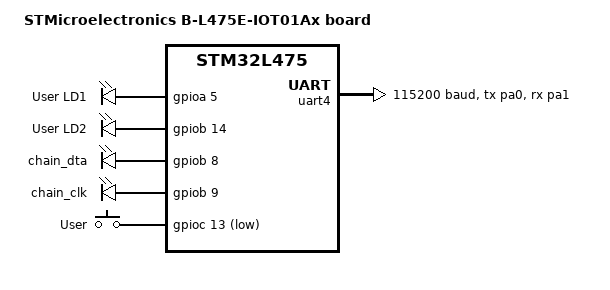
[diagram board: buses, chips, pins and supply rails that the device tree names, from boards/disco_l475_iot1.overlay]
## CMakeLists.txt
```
cmake_minimum_required(VERSION 3.20.0)
find_package(Zephyr REQUIRED HINTS $ENV{ZEPHYR_BASE})
project(uplink)

target_include_directories(app PRIVATE ../../include)

target_sources(app PRIVATE src/main.c src/os_ble.c ../../lib/journal.c ../../lib/friends.c ../../lib/comms.c ../../lib/os_uart.c ../../lib/ble_uuid.c)

list(APPEND ZEPHYR_EXTRA_MODULES 
    ${CMAKE_CURRENT_SOURCE_DIR}/modules/hal/silabs
)
```

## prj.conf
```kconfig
# Shell + CLI Support
CONFIG_SHELL=y
CONFIG_SHELL_BACKEND_SERIAL=y
CONFIG_SHELL_CMDS=y

CONFIG_SERIAL=y
CONFIG_UART_INTERRUPT_DRIVEN=y

# Bluetooth
CONFIG_BT=y
CONFIG_BT_SMP=n
CONFIG_BT_DEVICE_NAME="sienna-upl"
CONFIG_BT_PERIPHERAL=y
CONFIG_BT_OBSERVER=y
CONFIG_BT_CENTRAL=y
CONFIG_BT_GATT_CLIENT=y
CONFIG_BT_MAX_CONN=2
CONFIG_BT_DEVICE_APPEARANCE=0
CONFIG_BT_PRIVACY=n
CONFIG_BT_EXT_ADV=n
```

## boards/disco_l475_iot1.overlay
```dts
&uart4 {
	pinctrl-0 = <&uart4_tx_pa0 &uart4_rx_pa1>;
	pinctrl-names = "default";
	current-speed = <115200>;
	status = "okay";
};

&pinctrl {
    uart4_tx_pa0: uart4_tx_pa0 {
        pinmux = <STM32_PINMUX('A', 0, AF8)>;
        bias-disable;
        drive-push-pull;
    };

    uart4_rx_pa1: uart4_rx_pa1 {
        pinmux = <STM32_PINMUX('A', 1, AF8)>;
        bias-disable;
    };
};

/ {
	model = "STMicroelectronics B-L475E-IOT01Ax board";
	compatible = "st,stm32l475-disco-iot";

	chosen {
		zephyr,console = &usart1;
		zephyr,shell-uart = &usart1;
		zephyr,sram = &sram0;
		zephyr,flash = &flash0;
		zephyr,code-partition = &slot0_partition;
		zephyr,flash-controller = &mx25r6435f;
		zephyr,bt-c2h-uart = &usart1;
		zephyr,bt-hci = &hci_spi;
	};

	leds {
		compatible = "gpio-leds";
		green_led_1: led_1 {
			gpios = <&gpioa 5 GPIO_ACTIVE_HIGH>;
			label = "User LD1";
		};
		green_led_2: led_2 {
			gpios = <&gpiob 14 GPIO_ACTIVE_HIGH>;
			label = "User LD2";
		};

		chain_dta: led_3 {
			gpios = <&gpiob 8 (GPIO_ACTIVE_HIGH | GPIO_PULL_UP)>;
		};

		chain_clk: led_4 {
			gpios = <&gpiob 9 (GPIO_ACTIVE_HIGH | GPIO_PULL_UP)>;
		};
	};

	gpio_keys {
		compatible = "gpio-keys";
		user_button: button_0 {
			label = "User";
			gpios = <&gpioc 13 GPIO_ACTIVE_LOW>;
			zephyr,code = <INPUT_KEY_0>;
		};
	};

	pwmleds: pwmleds {
		compatible = "pwm-leds";
		status = "disabled";

		/*
		 * green_pwm_1 is connected to CN1 pin 2 not LD1, since LD1
		 * shares a pin with the Arduino SPI SCL line.
		 */
		green_pwm_1: green_led_1 {
			pwms = <&pwm2 1 PWM_MSEC(20) PWM_POLARITY_NORMAL>;
			label = "green LD1";
		};
		green_pwm_2: green_led_2 {
			pwms = <&pwm15 1 PWM_MSEC(20) PWM_POLARITY_NORMAL>;
			label = "green LD2";
		};
	};

	aliases {
		u1 = &uart4;
		clk0 = &chain_clk;
		dta0 = &chain_dta;
		led0 = &green_led_2;
		led1 = &green_led_1;
		pwm-led0 = &green_pwm_2;
		pwm-led1 = &green_pwm_1;
		sw0 = &user_button;
		eswifi0 = &wifi0;
		watchdog0 = &iwdg;
		accel0 = &lsm6dsl;
		volt-sensor0 = &vref;
		volt-sensor1 = &vbat;
		die-temp0 = &die_temp;
	};
};
```

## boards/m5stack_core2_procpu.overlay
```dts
/ {
	model = "M5Stack Core2 PROCPU";
	compatible = "m5stack,core2";

	aliases {
		pwr-led = &pwr_led;
		uart-0 = &uart0;
		i2c-0 = &i2c0;
		watchdog0 = &wdt0;
		rtc = &pfc8563_rtc;
		led0 = &led_pwr;
		sdhc0 = &sd0;
	};

	chosen {
		zephyr,sram = &sram1;
		zephyr,console = &uart0;
		zephyr,shell-uart = &uart0;
		zephyr,flash = &flash0;
		zephyr,display = &ili9342c;
		zephyr,code-partition = &slot0_partition;
		zephyr,rtc = &pfc8563_rtc;
		zephyr,bt-hci = &esp32_bt_hci;
		zephyr,touch = &ft5336_touch;
	};

	leds {
		compatible = "gpio-leds";
		led_pwr: led_pwr {
			gpios = <&axp192_gpio 1 (GPIO_OPEN_DRAIN | GPIO_ACTIVE_LOW)>;
			label = "Power LED";
		};
	};

	lvgl_pointer {
		compatible = "zephyr,lvgl-pointer-input";
		input = <&ft5336_touch>;
		swap-xy;
	};

	mipi_dbi {
		compatible = "zephyr,mipi-dbi-spi";
		dc-gpios = <&gpio0 15 GPIO_ACTIVE_HIGH>;
		reset-gpios = <&axp192_gpio 4 (GPIO_OPEN_DRAIN | GPIO_ACTIVE_LOW)>;
		spi-dev = <&spi3>;
		write-only;
		#address-cells = <1>;
		#size-cells = <0>;

		ili9342c: ili9342c@0 {
			compatible = "ilitek,ili9342c";
			mipi-max-frequency = <30000000>;
			reg = <0>;
			vin-supply = <&lcd_bg>;
			pixel-format = <ILI9XXX_PIXEL_FORMAT_RGB565>;
			display-inversion;
			width = <320>;
			height = <240>;
			rotation = <0>;
		};
	};

	bus_5v: bus_5v {
		compatible = "regulator-fixed";
		regulator-name = "bus_5v";
		enable-gpios = <&axp192_gpio 5 GPIO_ACTIVE_HIGH>;
	};

	esp32_bt_hci: esp32_bt_hci {
		compatible = "espressif,esp32-bt-hci";
		status = "okay";
	};
};
```

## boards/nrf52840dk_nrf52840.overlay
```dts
arduino_serial: &uart1 {
	current-speed = <115200>;
	pinctrl-0 = <&uart1_default>;
	pinctrl-1 = <&uart1_sleep>;
	pinctrl-names = "default", "sleep";
	status = "okay";
};

/ {
	aliases {
		u1 = &arduino_serial;
	};
};
```

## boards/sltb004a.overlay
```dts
/ {

	aliases {
		u1 = &usart2;
	};

	bt_hci_silabs: bt_hci_silabs {
		compatible = "silabs,bt-hci-efr32";
		status = "okay";
	};


};

  compatible = "silabs,sltb004a";

  aliases
  {
    u1 = &leuart0;
  };

  chosen {
    zephyr,console = &usart0;
    zephyr,shell-uart = &usart0;
    zephyr,bt-c2h-uart = &usart0;
    zephyr,bt-hci = &bt_hci_silabs;
  };
};

&leuart0
{
  status = "okay";
  current-speed = <115200>;
};

&bt_hci_silabs
{
  status = "okay";
};
```

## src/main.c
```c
#include <stdio.h>
#include <string.h>

#include <zephyr/kernel.h>
#include <zephyr/device.h>
#include <zephyr/devicetree.h>
#include <zephyr/drivers/display.h>
#include <zephyr/drivers/gpio.h>

#include "comms.h"

#include "friends.h"
#include "journal.h"
#include "os_ble.h"
#include "os_uart.h"
#include "ble_uuid.h"
#include "pet_wfc.h"

os_uart_passthru_s uart_passthru_rx = {

	.len = -1,
	.buff = {0}
};

os_uart_passthru_s uart_passthru_tx = {

	.len = -1,
	.buff = {0}
};

uint8_t my_mf_data[MF_DLEN] = {

	MF_ID_HIGH,
	MF_ID_LOW,
	0x00,
	0x00,
	0x00,
	0x00,
	0x00,
	0x00,
	0x00,
	0x00,
	0x00,
	0x00,
};

pet_personality_pkt_s pet_ppy_pkt;
pet_exchange_state_pkt_s pet_pex_state_pkt;
pet_exchange_journal_evt_pkt_s pet_pex_journal_evt_pkt;
pet_wfc_pkt_demo_cmd_s pet_wfc_demo_pkt;

pet_uart_srvc_rssi_pkt_s pet_uart_srvc_rssi_pkt;

pet_wfc_state_e pet_wfc_state = PET_WFC_NULL;

void print_buffer(uint8_t *buffer, int len) {
	int i;
	for (i = 0; i < len - 1; i++) {
		printf("0x%x-", buffer[i]);
	}
	printf("0x%x\r\n", buffer[i]);
}

void process_uart_packet() {

	os_ble_passthru_s ble_tx;

	print_buffer(uart_passthru_rx.buff, uart_passthru_rx.len);

	switch (uart_passthru_rx.buff[0]) {

		case PET_PKT_WFC_DEMO_COMMAND:
			printf("Got a WFC cmd \r\n");
			deserialize_pet_wfc_demo_cmd_pkt(&pet_wfc_demo_pkt, uart_passthru_rx.buff);

			switch (pet_wfc_demo_pkt.cmd_id) {
				case PET_WFC_CMD_INIT_CONN:
					// want to initiate pet wireless comunications

					targeting = pet_wfc_demo_pkt.cmd_arg;
					os_ble_state.state = OS_BLE_STATE_TARGETING;
					break;
				default:
					break;
			}

			break;

		case PET_PKT_WFC_RTC_UPDATE:
			printf("Got a WFC\r\n");

			ble_tx.charac = BLE_UUID_16_CHR_WFC_RX;
			ble_tx.len = uart_passthru_rx.len;
			memcpy(ble_tx.buff, uart_passthru_rx.buff, ble_tx.len);

			os_ble_notify(&ble_tx);
			break;

		case PET_PKT_PPY_PERSONALITY:

			printf("Got a PPY\r\n");

			deserialize_pet_personality_pkt(&pet_ppy_pkt, uart_passthru_rx.buff);

			my_mf_data[BLE_ADV_PEX_ID_HIGH] = pet_ppy_pkt.id >> 8;
			my_mf_data[BLE_ADV_PEX_ID_LOW] = pet_ppy_pkt.id & 0xFF;
			my_mf_data[BLE_ADV_MY_SPRITE] = pet_ppy_pkt.sprite;

			if (os_ble_state.state == OS_BLE_STATE_CONNECTED) {
				ble_tx.charac = BLE_UUID_16_CHR_PPY_RX;
				ble_tx.len = uart_passthru_rx.len;
				memcpy(ble_tx.buff, uart_passthru_rx.buff, ble_tx.len);

				os_ble_notify(&ble_tx);
			}
			break;

		case PET_PKT_PEX_STATE:

			printf("Got a PEX.\r\n");

			//deserialize_pet_exchange_state_pkt(&pet_pex_state_pkt, uart_passthru_rx.buff);
			memcpy(my_mf_data + BLE_ADV_PEX_STATE_START, uart_passthru_rx.buff + 2, 7);

			if (os_ble_state.state == OS_BLE_STATE_CONNECTED) {
				ble_tx.charac = BLE_UUID_16_CHR_PEX_RX;
				ble_tx.len = uart_passthru_rx.len;
				memcpy(ble_tx.buff, uart_passthru_rx.buff, ble_tx.len);

				os_ble_notify(&ble_tx);
			}
			break;

		case PET_PKT_PEX_JOURNAL_EVT:
			printf("Got a JOURNAL EVT.\r\n");

			ble_tx.charac = BLE_UUID_16_CHR_PEX_RX;
			ble_tx.len = uart_passthru_rx.len;
			memcpy(ble_tx.buff, uart_passthru_rx.buff, ble_tx.len);

			os_ble_notify(&ble_tx);
			break;

		default:
			break;
	}

	os_ble_update_mf_data(my_mf_data);
}


K_THREAD_STACK_DEFINE(stack_bluetooth_state_handler, 2048);
struct k_thread thread_bluetooth_state_handler_data;

static void thread_bluetooth_state_handler(void *a, void *b, void *c) {

	os_ble_passthru_s ble_rx;
	os_ble_passthru_s ble_tx;
	os_ble_pet_adv_s pet_adv;
	bool con_inited = false;

	pet_wfc_demo_pkt.cmd_id = PET_WFC_CMD_CLOSE_CONN;
	pet_wfc_demo_pkt.cmd_arg = 0;
	targeting = 0;
	printf("Goodbye M5!\r\n");

	uart_passthru_tx.len = serialize_pet_wfc_demo_cmd_pkt(
		&pet_wfc_demo_pkt, uart_passthru_tx.buff);

	os_uart_passthru(&uart_passthru_tx);

	while (true) {

		switch (os_ble_state.state) {

			case OS_BLE_STATE_SCAN:

				con_inited = false;
				printf("Starting scan...\r\n");
				os_ble_stop_advertising();
				os_ble_start_scan();

				if (!k_msgq_get(&os_ble_advq, &pet_adv, K_MSEC(OS_BLE_DURATION_SCAN))) {

					printf("Got sienna packet.\r\n");

					pet_uart_srvc_rssi_pkt.rssi = pet_adv.rssi;
					pet_uart_srvc_rssi_pkt.id = d_u16(pet_adv.mf_data + 2);
					pet_uart_srvc_rssi_pkt.sprite = pet_adv.mf_data[BLE_ADV_MY_SPRITE];

					deserialize_pet_exchange_state_pkt(&pet_uart_srvc_rssi_pkt.pex_state,
						pet_adv.mf_data + (BLE_ADV_PEX_STATE_START - 1));

					uart_passthru_tx.len = serialize_pet_uart_srvc_rssi_pkt(&pet_uart_srvc_rssi_pkt, uart_passthru_tx.buff);
					os_uart_passthru(&uart_passthru_tx);
				}

				os_ble_state.state = os_ble_state.state == OS_BLE_STATE_SCAN
					? OS_BLE_STATE_ADVERTISE
					: os_ble_state.state;

				break;

			case OS_BLE_STATE_ADVERTISE:

				printf("Starting advertise...\r\n");
				os_ble_stop_scan();
				os_ble_restart_advertising();

				k_sleep(K_MSEC(OS_BLE_DURATION_ADVERTISE));

				os_ble_state.state = os_ble_state.state == OS_BLE_STATE_ADVERTISE
					? OS_BLE_STATE_SCAN
					: os_ble_state.state;

				break;

			case OS_BLE_STATE_TARGETING:

				os_ble_stop_advertising();
				// but now we are looking for a connection
				os_ble_start_scan();

				k_sleep(K_MSEC(1000));

				break;

			case OS_BLE_STATE_PET_WFC:

				switch (pet_wfc_state) {

					case PET_WFC_NOTIFY_M5:

						pet_wfc_demo_pkt.cmd_id = PET_WFC_CMD_INIT_CONN;
						pet_wfc_demo_pkt.cmd_arg = targeting;

						uart_passthru_tx.len = serialize_pet_wfc_demo_cmd_pkt(
							&pet_wfc_demo_pkt, uart_passthru_tx.buff);

						os_uart_passthru(&uart_passthru_tx);

						if (i_am_the_boss) {
							pet_wfc_state = PET_WFC_SEND_HELLO;
						} else {
							pet_wfc_state = PET_WFC_WAIT_JOURNAL;
						}
						break;

					case PET_WFC_SEND_HELLO:
						// we need to tell the other device
						// that we are a pet

						pet_wfc_demo_pkt.cmd_id = PET_WFC_CMD_HELLO;

						ble_tx.charac = BLE_UUID_16_CHR_PEX_RX;
						ble_tx.len = serialize_pet_wfc_demo_cmd_pkt(&pet_wfc_demo_pkt, ble_tx.buff);

						os_ble_write(&ble_tx);
						pet_wfc_state = PET_WFC_WAIT_HELLO;
						break;

					case PET_WFC_WAIT_HELLO:

						if (!k_msgq_get(&os_ble_rxq, &ble_rx, K_MSEC(100))) {

							if (ble_rx.buff[1] == PET_PKT_WFC_DEMO_COMMAND && ble_rx.buff[2] == PET_WFC_CMD_HELLO) {
								// other pet has acked lets do journal exchange
								pet_wfc_state = PET_WFC_WAIT_JOURNAL;
								// we can give a journal request to the M5 and it will tx straight thru
								pet_pex_journal_evt_pkt.index = JOURNAL_REQUEST_MAGIC_NUM;
								pet_pex_journal_evt_pkt.entry.event = JOURNAL_EVT_HOT; // we're pretty hot ngl
								pet_pex_journal_evt_pkt.entry.timestamp = 0;
								pet_pex_journal_evt_pkt.id = 0;

								uart_passthru_tx.len = serialize_pet_exchange_journal_evt_pkt(&pet_pex_journal_evt_pkt, uart_passthru_tx.buff);
								os_uart_passthru(&uart_passthru_tx);
							}
						}

						break;

					case PET_WFC_WAIT_JOURNAL:

						if (!k_msgq_get(&os_ble_rxq, &ble_rx, K_MSEC(100))) {
							// we got a journal event so forward straight to the M5
							uart_passthru_tx.len = ble_rx.len;
							memcpy(uart_passthru_tx.buff, ble_rx.buff, uart_passthru_rx.len);
							os_uart_passthru(&uart_passthru_tx);

							deserialize_pet_exchange_journal_evt_pkt(&pet_pex_journal_evt_pkt, ble_rx.buff);

							if (pet_pex_journal_evt_pkt.index == JOURNAL_FINISHED_MAGIC_NUM) {
								// we're done here :)
								pet_wfc_state = PET_WFC_NULL;
								bt_conn_disconnect(pet_wfc_conn, BT_HCI_ERR_REMOTE_USER_TERM_CONN);
							}
						}

						break;

					case PET_WFC_GOODBYE_M5:

						pet_wfc_demo_pkt.cmd_id = PET_WFC_CMD_CLOSE_CONN;
						pet_wfc_demo_pkt.cmd_arg = 0;
						targeting = 0;
						printf("Goodbye M5!\r\n");

						uart_passthru_tx.len = serialize_pet_wfc_demo_cmd_pkt(
							&pet_wfc_demo_pkt, uart_passthru_tx.buff);

						os_uart_passthru(&uart_passthru_tx);

						pet_wfc_state = PET_WFC_NULL;
						os_ble_state.state = OS_BLE_STATE_SCAN;
						break;

					default:
						break;
				}

				k_sleep(K_MSEC(100));
				break;

			case OS_BLE_STATE_CONNECTED:

				if (!con_inited) {
					pet_wfc_demo_pkt.cmd_id = PET_WFC_CMD_INIT_CONN;
					pet_wfc_demo_pkt.cmd_arg = targeting;

					uart_passthru_tx.len = serialize_pet_wfc_demo_cmd_pkt(
						&pet_wfc_demo_pkt, uart_passthru_tx.buff);

					os_uart_passthru(&uart_passthru_tx);
				}
				con_inited = true;


				if (k_msgq_num_used_get(&os_ble_rxq) > 0) {
					k_msgq_get(&os_ble_rxq, &ble_rx, K_NO_WAIT);

					if (ble_rx.buff[1] == PET_PKT_WFC_DEMO_COMMAND && ble_rx.buff[2] == PET_WFC_CMD_HELLO) {
						// we're actually in Pet WFC mode
						pet_wfc_state = PET_WFC_SEND_HELLO;
						os_ble_state.state = OS_BLE_STATE_PET_WFC;
						break;
					}

					uart_passthru_tx.len = ble_rx.len;
					memcpy(uart_passthru_tx.buff, ble_rx.buff, uart_passthru_tx.len);
					os_uart_passthru(&uart_passthru_tx);

					printf("Got a ble msg.\r\n");
					print_buffer(uart_passthru_tx.buff, uart_passthru_tx.len);
				}
			// fallthrough
			default:
				k_sleep(K_MSEC(100));
				break;
		}
	}
}

int main() {

	k_tid_t tid_bluetooth_state_handler;

	os_ble_init();

	if (!os_uart_init()) {
		printf("UART INIT FAILED!\n");
	}

	os_ble_state.state = OS_BLE_STATE_SCAN;

	tid_bluetooth_state_handler = k_thread_create(
		&thread_bluetooth_state_handler_data,
		stack_bluetooth_state_handler,
		K_THREAD_STACK_SIZEOF(stack_bluetooth_state_handler),
		thread_bluetooth_state_handler,
		NULL, NULL, NULL,
		2, 0, K_NO_WAIT
	);

	while (1) {

		k_msgq_get(&os_uart_rxq, &uart_passthru_rx, K_FOREVER);
		printf("Got a uart msg.\r\n");

		process_uart_packet();
	}
}
```

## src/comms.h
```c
#ifndef COMMS_H
#define COMMS_H

#include <stdint.h>

#include "scenes.h"
#include "personality.h"
#include "journal.h"

#define SIENNA_MF_ID 0x4369

#define BLE_SERV_UUID16_PPY 0x4369
#define BLE_SERV_UUID16_PEX 0xCAFE
#define BLE_SERV_UUID16_WFC 0xFEED

typedef struct {

	pex_uuid_t id;

	sprite_s sprite;

	main_scenes_e fav_scene;
	mod_weather_e fav_weather;
	mod_time_e fav_time;
	mod_temp_e fav_temp;

	foods_e fav_food;
	drinks_e fav_drink;

	uint16_t weights[PET_ATTR_NEG_MAX];
} pet_personality_pkt_s;

typedef struct {

	main_scenes_e scene;
	mod_weather_e scene_weather;
	mod_mood_e scene_mood;
	mod_time_e scene_time;
	mod_temp_e scene_temp;

	foods_e held_food;
	drinks_e held_drink;

} pet_exchange_state_pkt_s;

typedef struct {

	journal_entry_s journal[JOURNAL_MAX_ENTRIES];
} pet_exchange_journal_pkt_s;

typedef struct {


} pet_exchange_journal_evt_pkt_s;

typedef struct {


} pet_wfc_pkt_s;

void serialize_pet_personality_pkt(pet_personality_pkt_s *pkt, uint8_t *buffer);
bool deserialize_pet_personality_pkt(pet_personality_pkt_s *pkt, uint8_t *buffer);

void serialize_pet_exchange_state_pkt(pet_exchange_state_pkt_s *pkt, uint8_t *buffer);
bool deserialize_pet_exchange_state_pkt(pet_exchange_state_pkt_s *pkt, uint8_t *buffer);

void serialize_pet_exchange_journal_pkt(pet_exchange_journal_pkt_s *pkt, uint8_t *buffer);
bool deserialize_pet_exchange_journal_pkt(pet_exchange_journal_pkt_s *pkt, uint8_t *buffer);

#endif
```

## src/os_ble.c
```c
#include <stdint.h>
#include <string.h>

#include "os_ble.h"
#include "ble_uuid.h"
#include "friends.h"
#include "pet_wfc.h"

struct k_msgq os_ble_rxq;
struct k_msgq os_ble_advq;

char os_ble_rxq_buff[RX_QUEUE_SIZE * sizeof(os_ble_passthru_s)];
char os_ble_advq_buff[RX_QUEUE_SIZE * sizeof(os_ble_pet_adv_s)];

// NOTE: TX and RX here are from POV of me as the server
uint8_t srv_ppy_tx_data[RX_BUFF_SIZE] = {0};
uint8_t srv_pex_tx_data[RX_BUFF_SIZE] = {0};
uint8_t srv_wfc_tx_data[RX_BUFF_SIZE] = {0};

bool i_am_the_boss = false;

uint8_t mf_data[MF_DLEN] = {

	MF_ID_HIGH,
	MF_ID_LOW,
	0x00,
	0x00,
	0x00,
	0x00,
	0x00,
	0x00,
	0x00,
	0x00,
	0x00,
	0x00,
};

struct bt_conn *pet_wfc_conn = NULL;

struct bt_le_scan_param params = {

	.type = BT_LE_SCAN_TYPE_PASSIVE,
	.options = BT_LE_SCAN_OPT_CODED,
	.interval = BT_GAP_SCAN_FAST_INTERVAL,
	.window = BT_GAP_SCAN_FAST_WINDOW,
};

pex_uuid_t targeting = 0;

struct bt_conn *pn_conn;
struct bt_conn *bn_conn;

static struct bt_gatt_discover_params discover_params;
static struct bt_gatt_subscribe_params subscribe_params;

int8_t last_rssi = 0;
static uint16_t pex_tx_handle;

os_ble_state_s os_ble_state = {

	.state = OS_BLE_STATE_UNINIT
};

void os_ble_update_mf_data(uint8_t *new_mf_data) {

	memcpy((uint8_t *)mf_data, new_mf_data, MF_DLEN);
}

static bool os_ble_is_sienna(struct bt_data *data, void *user_data) {

	struct bt_conn *target = NULL;
	uint16_t company_id;
	pex_uuid_t pex_id;
	os_ble_pet_adv_s pet_adv;

	bt_addr_le_t *addr = user_data;

	switch (data->type) {
		case BT_DATA_MANUFACTURER_DATA:

			company_id = (uint16_t)data->data[0] << 8 | data->data[1];
			pex_id = (uint16_t)data->data[2] << 8 | data->data[3];

			if (company_id == SIENNA_MF_ID) {

				if (os_ble_state.state == OS_BLE_STATE_TARGETING && targeting == pex_id) {
					os_ble_stop_scan();
					i_am_the_boss = true;
					int err = bt_conn_le_create((bt_addr_le_t *)user_data, BT_CONN_LE_CREATE_CONN,
							BT_LE_CONN_PARAM_DEFAULT, &pet_wfc_conn);

					if (err) {
						printf("Error %d starting conn!\r\n", err);
						bt_conn_unref(pet_wfc_conn);
						pet_wfc_conn = NULL;
					}

					return false;
				}

				memcpy(pet_adv.mf_data, data->data, data->data_len);
				pet_adv.rssi = last_rssi;

				k_msgq_put(&os_ble_advq, &pet_adv, K_NO_WAIT);

				return false;
			}

			break;
		default:
			break;
	}

	return true;
}

static void os_ble_adv_rx(const bt_addr_le_t *addr, int8_t rssi,
	uint8_t type, struct net_buf_simple *ad) {


	if (type != BT_GAP_ADV_TYPE_ADV_IND &&
			type != BT_GAP_ADV_TYPE_ADV_DIRECT_IND && type != BT_GAP_ADV_TYPE_SCAN_RSP) {

		return;
	}

	if (rssi < -80) {
		return;
	}

	last_rssi = rssi;
	bt_data_parse(ad, os_ble_is_sienna, (void *)addr);

}

void os_ble_start_scan() {
	bt_le_scan_start(&params, &os_ble_adv_rx);
}

void os_ble_stop_scan() {
	bt_le_scan_stop();
}

void os_ble_stop_advertising() {
	bt_le_adv_stop();
}

int os_ble_start_advertising() {

	struct bt_data adv_pkt[] = {
		BT_DATA_BYTES(BT_DATA_FLAGS, (BT_LE_AD_GENERAL | BT_LE_AD_NO_BREDR)),
		BT_DATA(BT_DATA_NAME_COMPLETE, CONFIG_BT_DEVICE_NAME, sizeof(CONFIG_BT_DEVICE_NAME) - 1),
		BT_DATA(BT_DATA_MANUFACTURER_DATA, mf_data, MF_DLEN),
		//BT_DATA_BYTES(BT_DATA_UUID128_SOME, &ble_uuid_srv_ppy.uuid)
	};

	return bt_le_adv_start(BT_LE_ADV_CONN_FAST_1, adv_pkt, ARRAY_SIZE(adv_pkt), NULL, 0);
}

int os_ble_restart_advertising() {
	bt_le_adv_stop();

	return os_ble_start_advertising();
}

static void os_ble_cccd_update(const struct bt_gatt_attr *attr, uint16_t val) {
	if (val == BT_GATT_CCC_NOTIFY) {
		// other pet subbed for notifs we should do something here
	}
}

static ssize_t os_ble_ppy_tx_cb(struct bt_conn *conn, const struct bt_gatt_attr *attr,
	const void *buf, uint16_t len, uint16_t offset, uint8_t flags) {

	os_ble_passthru_s passthru_rx;

	passthru_rx.len = len;
	memcpy(passthru_rx.buff, buf, len);

	k_msgq_put(&os_ble_rxq, &passthru_rx, K_NO_WAIT);
}
static void os_ble_write_resp(struct bt_conn *conn, uint8_t err, struct bt_gatt_write_params *params)
{
	if (err) {
		printk("Write failed (err %d)\n", err);

		return;
	}
}

BT_GATT_SERVICE_DEFINE(srv_ppy,
	BT_GATT_PRIMARY_SERVICE(&ble_uuid_srv_ppy.uuid),
	BT_GATT_CHARACTERISTIC(&ble_uuid_chr_ppy_rx.uuid,
		BT_GATT_CHRC_NOTIFY, BT_GATT_PERM_NONE, NULL, NULL, &srv_ppy_tx_data),
	BT_GATT_CCC(os_ble_cccd_update, BT_GATT_PERM_READ | BT_GATT_PERM_WRITE),
	BT_GATT_CHARACTERISTIC(&ble_uuid_chr_ppy_tx.uuid,
		BT_GATT_CHRC_WRITE, BT_GATT_PERM_WRITE, NULL, os_ble_ppy_tx_cb, (void *)1),
);

BT_GATT_SERVICE_DEFINE(srv_pex,
	BT_GATT_PRIMARY_SERVICE(&ble_uuid_srv_pex.uuid),
	BT_GATT_CHARACTERISTIC(&ble_uuid_chr_pex_rx.uuid,
		BT_GATT_CHRC_NOTIFY, BT_GATT_PERM_NONE, NULL, NULL, &srv_pex_tx_data),
	BT_GATT_CCC(os_ble_cccd_update, BT_GATT_PERM_READ | BT_GATT_PERM_WRITE),
	BT_GATT_CHARACTERISTIC(&ble_uuid_chr_pex_tx.uuid,
		BT_GATT_CHRC_WRITE, BT_GATT_PERM_WRITE, NULL, os_ble_ppy_tx_cb, (void *)1),
);

BT_GATT_SERVICE_DEFINE(srv_wfc,
	BT_GATT_PRIMARY_SERVICE(&ble_uuid_srv_wfc.uuid),
	BT_GATT_CHARACTERISTIC(&ble_uuid_chr_wfc_rx.uuid,
		BT_GATT_CHRC_NOTIFY, BT_GATT_PERM_NONE, NULL, NULL, &srv_wfc_tx_data),
	BT_GATT_CCC(os_ble_cccd_update, BT_GATT_PERM_READ | BT_GATT_PERM_WRITE),
	BT_GATT_CHARACTERISTIC(&ble_uuid_chr_wfc_tx.uuid,
		BT_GATT_CHRC_WRITE, BT_GATT_PERM_WRITE, NULL, os_ble_ppy_tx_cb, (void *)1),
);

void os_ble_notify(os_ble_passthru_s *passthru) {

	switch (passthru->charac) {

		case BLE_UUID_16_CHR_PPY_RX:
			bt_gatt_notify(NULL, &srv_ppy.attrs[1], passthru->buff, passthru->len);
			break;
		case BLE_UUID_16_CHR_PEX_RX:
			bt_gatt_notify(NULL, &srv_pex.attrs[1], passthru->buff, passthru->len);
			break;
		case BLE_UUID_16_CHR_WFC_RX:
			bt_gatt_notify(NULL, &srv_wfc.attrs[1], passthru->buff, passthru->len);
			break;

		default:
			break;
	}
}

void os_ble_write(os_ble_passthru_s *passthru) {

	struct bt_gatt_write_params write_params;
	int err;

	write_params.func = os_ble_write_resp;
	write_params.handle = pex_tx_handle;
	write_params.offset = 0;
	write_params.data = passthru->buff;
	write_params.length = passthru->len;

	switch (passthru->charac) {
		case BLE_UUID_16_CHR_PEX_TX:
			err = bt_gatt_write(pet_wfc_conn, &write_params);
			break;
		case BLE_UUID_16_CHR_PPY_TX:
		case BLE_UUID_16_CHR_WFC_TX:
		default:
			break;
	}
}

static uint8_t os_ble_notified(struct bt_conn *conn,
	struct bt_gatt_subscribe_params *params, const void *buff, uint16_t len) {

	if (buff == NULL) {
		return BT_GATT_ITER_STOP;
	}

	printf("Got a notification.\r\n");

	os_ble_passthru_s passthru_rx;

	passthru_rx.len = len;
	memcpy(passthru_rx.buff, buff, len);

	k_msgq_put(&os_ble_rxq, &passthru_rx, K_NO_WAIT);

	return BT_GATT_ITER_CONTINUE;
}

static struct bt_uuid_16 uuid = BT_UUID_INIT_16(0);
int gatt_disc_up_to = 0;

static uint8_t os_ble_discover(struct bt_conn *conn,
		const struct bt_gatt_attr *attr,
			struct bt_gatt_discover_params *params) {


	struct bt_gatt_chrc *chrc;

	int err;

	if (!attr) {

		printk("Discover complete\n");
		(void)memset(params, 0, sizeof(*params));

		return BT_GATT_ITER_STOP;
	}

	printk("[ATTRIBUTE] handle %u\n", attr->handle);

	if (!bt_uuid_cmp(discover_params.uuid, &ble_uuid_srv_pex.uuid)) {
		discover_params.uuid = &ble_uuid_chr_pex_rx.uuid;
		discover_params.start_handle = attr->handle + 1;
		discover_params.type = BT_GATT_DISCOVER_CHARACTERISTIC;

		err = bt_gatt_discover(conn, &discover_params);
		if (err) {
			printk("Discover failed (err %d)\n", err);
		}
	} else if (!bt_uuid_cmp(discover_params.uuid, &ble_uuid_chr_ppy_rx.uuid) ||
			!bt_uuid_cmp(discover_params.uuid, &ble_uuid_chr_pex_rx.uuid) ||
				!bt_uuid_cmp(discover_params.uuid, &ble_uuid_chr_wfc_rx.uuid)) {

		printf("Found ppy rx\r\n");
		memcpy(&uuid, BT_UUID_GATT_CCC, sizeof(uuid));
		discover_params.uuid = &uuid.uuid;
		discover_params.start_handle = attr->handle + 2;
		discover_params.type = BT_GATT_DISCOVER_DESCRIPTOR;
		subscribe_params.value_handle = bt_gatt_attr_value_handle(attr);

		err = bt_gatt_discover(conn, &discover_params);
		if (err) {
			printk("Discover failed (err %d)\n", err);
		}
	} else if (!bt_uuid_cmp(discover_params.uuid, BT_UUID_GATT_CCC)){
		subscribe_params.notify = os_ble_notified;
		subscribe_params.value = BT_GATT_CCC_NOTIFY;
		subscribe_params.ccc_handle = attr->handle;

		err = bt_gatt_subscribe(conn, &subscribe_params);
		if (err && err != -EALREADY) {
			printk("Subscribe failed (err %d)\n", err);
		} else {
			printk("[SUBSCRIBED]\n");
		}

		discover_params.uuid = &ble_uuid_chr_pex_tx.uuid;
		discover_params.start_handle = attr->handle + 1;
		discover_params.type = BT_GATT_DISCOVER_CHARACTERISTIC;

		err = bt_gatt_discover(conn, &discover_params);
		if (err) {
			printk("Discover failed (err %d)\n", err);
		}

	} else if (!bt_uuid_cmp(discover_params.uuid, &ble_uuid_chr_pex_tx.uuid)) {

		printf("Found TX.\n\r");

		chrc = (struct bt_gatt_chrc *)attr->user_data;
		pex_tx_handle = chrc->value_handle;

		os_ble_state.state = OS_BLE_STATE_PET_WFC;
		pet_wfc_state = PET_WFC_NOTIFY_M5;
	}

	return BT_GATT_ITER_STOP;
}

static void os_ble_connected(struct bt_conn *connected, uint8_t err) {

	if (os_ble_state.state == OS_BLE_STATE_TARGETING) {
		// we actually are a central now

		discover_params.uuid = &ble_uuid_srv_pex.uuid;
		discover_params.func = os_ble_discover;
		discover_params.start_handle = BT_ATT_FIRST_ATTRIBUTE_HANDLE;
		discover_params.end_handle = BT_ATT_LAST_ATTRIBUTE_HANDLE;
		discover_params.type = BT_GATT_DISCOVER_PRIMARY;

		int e2 = bt_gatt_discover(pet_wfc_conn, &discover_params);
		if (e2) {
			printf("Couldn't begin discovery! %d\r\n", e2);
			bt_conn_disconnect(pet_wfc_conn, BT_HCI_ERR_REMOTE_USER_TERM_CONN);
		}
	} else {
		os_ble_state.state = OS_BLE_STATE_CONNECTED;
	}

	targeting = 0;
}

static void os_ble_disconnected(struct bt_conn *disconn, uint8_t reason) {

	if (pet_wfc_conn != NULL) {
		bt_conn_disconnect(pet_wfc_conn, BT_HCI_ERR_REMOTE_USER_TERM_CONN);
		bt_conn_unref(pet_wfc_conn);
		pet_wfc_conn = NULL;
	}

	printf("Disconnected.\r\n");

	os_ble_state.state == OS_BLE_STATE_PET_WFC;
	pet_wfc_state = PET_WFC_GOODBYE_M5;
}

BT_CONN_CB_DEFINE(conn_callbacks) = {
	.connected = os_ble_connected,
	.disconnected = os_ble_disconnected,
	//.recycled = os_ble_disconnected
};


bool os_ble_init() {

	k_msgq_init(&os_ble_rxq, os_ble_rxq_buff, sizeof(os_ble_passthru_s), RX_QUEUE_SIZE);
	k_msgq_init(&os_ble_advq, os_ble_advq_buff, sizeof(os_ble_pet_adv_s), RX_QUEUE_SIZE);

	if (bt_enable(NULL)) {
		return false;
	}

	bt_le_adv_stop();

	int err;

	err = os_ble_start_advertising();

	if (err) {
		return false;
	}

	return true;
}
```

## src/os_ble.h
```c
#include "friends.h"
#include <stdint.h>
#include <stdbool.h>

#include <zephyr/kernel.h>

#include <zephyr/bluetooth/bluetooth.h>
#include <zephyr/bluetooth/hci.h>
#include <zephyr/bluetooth/conn.h>
#include <zephyr/bluetooth/uuid.h>
#include <zephyr/bluetooth/gatt.h>

#define MF_ID_HIGH 0x43
#define MF_ID_LOW 0x69

#define SIENNA_MF_ID 0x4369
#define SIENNA_MF_ID_LIL_ENDY 0x6943

#define MF_DLEN 12

#define RX_BUFF_SIZE 256
#define RX_QUEUE_SIZE 5

#define OS_BLE_DURATION_SCAN 1000
#define OS_BLE_DURATION_ADVERTISE 1000

typedef enum {

	OS_BLE_STATE_UNINIT,
	OS_BLE_STATE_SCAN,
	OS_BLE_STATE_ADVERTISE,
	OS_BLE_STATE_CONNECTED,
	OS_BLE_STATE_TARGETING,
	OS_BLE_STATE_WAITING,
	OS_BLE_STATE_PET_WFC
} os_ble_state_e;

typedef struct {

	uint16_t charac;

	uint8_t buff[256];
	int len;

} os_ble_passthru_s;

typedef struct {

	int8_t rssi;
	uint8_t mf_data[MF_DLEN];
	const bt_addr_le_t *addr;
} os_ble_pet_adv_s;

typedef struct {

	os_ble_state_e state;
} os_ble_state_s;

extern os_ble_state_s os_ble_state;
extern struct k_msgq os_ble_rxq;
extern struct k_msgq os_ble_advq;

extern pex_uuid_t targeting;
extern struct bt_conn *pet_wfc_conn;

extern bool i_am_the_boss;

bool os_ble_init();
void os_ble_update_mf_data(uint8_t *new_mf_data);
void os_ble_write(os_ble_passthru_s *passthru);
void os_ble_start_scan();
void os_ble_stop_scan();
void os_ble_notify(os_ble_passthru_s *passthru);

int os_ble_restart_advertising();
void os_ble_stop_advertising();
```

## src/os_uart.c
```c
#include <stddef.h>
#include <stdint.h>

#include "os_uart.h"

#include <zephyr/device.h>
#include <zephyr/drivers/uart.h>

struct k_msgq os_uart_rxq;

uint8_t os_uart_rx_buff[RX_BUFF_SIZE] = {0};
int rx_buff_idx = 0;

char os_uart_rxq_buff[RX_QUEUE_SIZE * sizeof(uint8_t) * RX_BUFF_SIZE];

os_uart_inf m_uart_state = {

	.partner_dev = OS_UART_PARTNER,
	.target_size = 0,
	.rx_error = false,
	.rx_overflow = false
};

void os_uart_tx(uint8_t *buff, int len) {
	for (int i = 0; i < len; i++) {
		uart_poll_out(m_uart_state.partner_dev, buff[i]);
	}
}

static void uart_cb(const struct device *dev, void *ctx) {

	uint8_t c;

	if (!uart_irq_update(m_uart_state.partner_dev)) {
		return;
	}

	if (!uart_irq_rx_ready(m_uart_state.partner_dev)) {
		return;
	}

	while (uart_fifo_read(m_uart_state.partner_dev, &c, 1) == 1) {
		os_uart_rx_buff[rx_buff_idx++] = c;

		if (rx_buff_idx == m_uart_state.target_size) {
			// done should put on a queue
			k_msgq_put(&os_uart_rxq, &os_uart_rx_buff, K_NO_WAIT);
			rx_buff_idx = 0;
			break;
		}
	}
};

bool os_uart_init() {

	if (!device_is_ready(m_uart_state.partner_dev)) {
		return false;
	}

	k_msgq_init(&os_uart_rxq, os_uart_rxq_buff, sizeof(uint8_t) * RX_BUFF_SIZE, RX_QUEUE_SIZE);

	if (uart_irq_callback_user_data_set(m_uart_state.partner_dev, uart_cb, NULL) < 0) {
		return false;
	}

	uart_irq_rx_enable(m_uart_state.partner_dev);

	return true;
}
```

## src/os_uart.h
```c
#include <stdbool.h>
#include <stdint.h>

#include <zephyr/kernel.h>
#include <zephyr/device.h>

#define OS_UART_PARTNER DEVICE_DT_GET(DT_ALIAS(u4))

#define RX_BUFF_SIZE 256
#define RX_QUEUE_SIZE 5

typedef struct {

	const struct device *partner_dev;
	int target_size;
	bool rx_error;
	bool rx_overflow;
} os_uart_inf;

extern struct k_msgq os_uart_rxq;
extern uint8_t os_uart_evt_flags;

bool os_uart_init();
void os_uart_tx(uint8_t *buff, int len);
```

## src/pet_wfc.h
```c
#ifndef PET_WFC_H
#define PET_WFC_H

typedef enum {

	PET_WFC_NULL,
	PET_WFC_NOTIFY_M5,
	PET_WFC_SEND_HELLO,
	PET_WFC_WAIT_HELLO,
	PET_WFC_WAIT_JOURNAL,
	PET_WFC_GOODBYE_M5
} pet_wfc_state_e;

extern pet_wfc_state_e pet_wfc_state;

#endif
```
